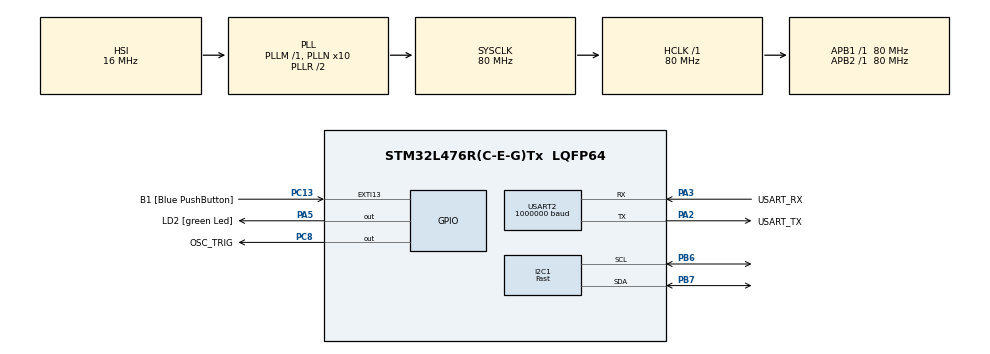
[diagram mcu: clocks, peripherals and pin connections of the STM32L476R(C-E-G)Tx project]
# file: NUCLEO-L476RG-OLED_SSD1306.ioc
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I2C1.I2C_Speed_Mode=I2C_Fast
I2C1.Timing=0x00702991
Mcu.Family=STM32L4
Mcu.Name=STM32L476R(C-E-G)Tx
Mcu.Package=LQFP64
NVIC.PriorityGroup=NVIC_PRIORITYGROUP_4
PA13\ (JTMS-SWDIO).GPIO_Label=TMS
PA13\ (JTMS-SWDIO).Mode=Serial_Wire
PA13\ (JTMS-SWDIO).Signal=SYS_JTMS-SWDIO
PA14\ (JTCK-SWCLK).GPIO_Label=TCK
PA14\ (JTCK-SWCLK).Mode=Serial_Wire
PA14\ (JTCK-SWCLK).Signal=SYS_JTCK-SWCLK
PA2.GPIO_Label=USART_TX
PA2.GPIO_Mode=GPIO_MODE_AF_PP
PA2.GPIO_PuPd=GPIO_NOPULL
PA2.GPIO_Speed=GPIO_SPEED_FREQ_VERY_HIGH
PA2.Mode=Asynchronous
PA2.Signal=USART2_TX
PA3.GPIO_Label=USART_RX
PA3.GPIO_Mode=GPIO_MODE_AF_PP
PA3.GPIO_PuPd=GPIO_NOPULL
PA3.GPIO_Speed=GPIO_SPEED_FREQ_VERY_HIGH
PA3.Mode=Asynchronous
PA3.Signal=USART2_RX
PA5.GPIO_Label=LD2 [green Led]
PA5.GPIO_ModeDefaultOutputPP=GPIO_MODE_OUTPUT_PP
PA5.GPIO_PuPd=GPIO_NOPULL
PA5.GPIO_Speed=GPIO_SPEED_FREQ_LOW
PA5.Signal=GPIO_Output
PB3\ (JTDO-TRACESWO).GPIO_Label=SWO
PB3\ (JTDO-TRACESWO).Signal=SYS_JTDO-SWO
PB6.Mode=I2C
PB6.Signal=I2C1_SCL
PB7.Mode=I2C
PB7.Signal=I2C1_SDA
PC13.GPIO_Label=B1 [Blue PushButton]
PC13.GPIO_ModeDefaultEXTI=GPIO_MODE_IT_FALLING
PC13.GPIO_PuPd=GPIO_NOPULL
PC13.Signal=GPXTI13
PC14-OSC32_IN\ (PC14).Mode=LSE-External-Oscillator
PC14-OSC32_IN\ (PC14).Signal=RCC_OSC32_IN
PC15-OSC32_OUT\ (PC15).Mode=LSE-External-Oscillator
PC15-OSC32_OUT\ (PC15).Signal=RCC_OSC32_OUT
PC8.GPIO_Label=OSC_TRIG
PC8.Signal=GPIO_Output
PH0-OSC_IN\ (PH0).Signal=RCC_OSC_IN
PH1-OSC_OUT\ (PH1).Signal=RCC_OSC_OUT
ProjectManager.HeapSize=0x200
ProjectManager.StackSize=0x400
ProjectManager.TargetToolchain=STM32CubeIDE
RCC.ADCFreq_Value=64000000
RCC.AHBFreq_Value=80000000
RCC.APB1Freq_Value=80000000
RCC.APB1TimFreq_Value=80000000
RCC.APB2Freq_Value=80000000
RCC.APB2TimFreq_Value=80000000
RCC.CortexFreq_Value=80000000
RCC.HCLKFreq_Value=80000000
RCC.HSE_VALUE=8000000
RCC.HSI_VALUE=16000000
RCC.MSI_VALUE=4000000
RCC.PLLN=10
RCC.PLLSourceVirtual=RCC_PLLSOURCE_HSI
RCC.PREFETCH_ENABLE=1
RCC.SYSCLKFreq_VALUE=80000000
RCC.SYSCLKSource=RCC_SYSCLKSOURCE_PLLCLK
RCC.USBFreq_Value=64000000
RCC.VCOOutputFreq_Value=160000000
USART2.BaudRate=1000000
USART2.VirtualMode-Asynchronous=VM_ASYNC
board=NUCLEO-L476RG

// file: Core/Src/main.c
/* USER CODE BEGIN Header */
/**
 ******************************************************************************
 * @file           : main.c
 * @brief          : Main program body
 ******************************************************************************
 * @attention
 *
 * Copyright (c) 2024 STMicroelectronics.
 * All rights reserved.
 *
 * This software is licensed under terms that can be found in the LICENSE file
 * in the root directory of this software component.
 * If no LICENSE file comes with this software, it is provided AS-IS.
 *
 ******************************************************************************
 */
/* USER CODE END Header */
#include "main.h"
#include "i2c.h"
#include "usart.h"
#include "gpio.h"

/* USER CODE BEGIN Includes */
#include "SSD1306.h"
/* USER CODE END Includes */

void SystemClock_Config(void);

int main(void)
{

  /* MCU Configuration--------------------------------------------------------*/

  /* Reset of all peripherals, Initializes the Flash interface and the Systick. */
  HAL_Init();

  /* Configure the system clock */
  SystemClock_Config();

  /* Initialize all configured peripherals */
  MX_GPIO_Init();
  MX_USART2_UART_Init();
  MX_I2C1_Init();
  /* USER CODE BEGIN 2 */
	tx_Buffer_Size = snprintf((char *)uart2_Tx_Buffer, UART_TX_BUFFER_SIZE, "Simple code for SSD1306 OLED Screen\r\n");
	HAL_UART_Transmit(&huart2, uart2_Tx_Buffer, tx_Buffer_Size, 10);
	if(HAL_OK == SCREEN_SSD1306_Init(&hscreen1, &hi2c1)){
		tx_Buffer_Size = snprintf((char *)uart2_Tx_Buffer, UART_TX_BUFFER_SIZE, "Screen Init Done\r\n");
		HAL_UART_Transmit(&huart2, uart2_Tx_Buffer, tx_Buffer_Size, 10);
	}
	else{
		tx_Buffer_Size = snprintf((char *)uart2_Tx_Buffer, UART_TX_BUFFER_SIZE, "Screen Init Error\r\n");
		HAL_UART_Transmit(&huart2, uart2_Tx_Buffer, tx_Buffer_Size, 10);
	}
	int dir = 1;
	while(1){
		SSD1306_COLOR color = Black;
		SCREEN_SSD1306_Fill(&hscreen1, color);
		color = White;
		SCREEN_SSD1306_Write_String(&hscreen1, "Hello world", Font_11x18, color);
		hscreen1.CurrentX = 0;
		hscreen1.CurrentY += dir;
		if(hscreen1.CurrentY == 45) dir = -1;
		if(hscreen1.CurrentY == 0) dir = 1;
		HAL_GPIO_WritePin(OSC_TRIG_GPIO_Port, OSC_TRIG_Pin, SET);
		SCREEN_SSD1306_Update_Screen(&hscreen1);
		HAL_GPIO_WritePin(OSC_TRIG_GPIO_Port, OSC_TRIG_Pin, RESET);
		HAL_Delay(20);
	}

  /* USER CODE END 2 */

  /* Infinite loop */
	while (1)
	{

	}
}

void SystemClock_Config(void)
{
  RCC_OscInitTypeDef RCC_OscInitStruct = {0};
  RCC_ClkInitTypeDef RCC_ClkInitStruct = {0};

  /** Configure the main internal regulator output voltage
  */
  if (HAL_PWREx_ControlVoltageScaling(PWR_REGULATOR_VOLTAGE_SCALE1) != HAL_OK)
  {
    Error_Handler();
  }

  /** Initializes the RCC Oscillators according to the specified parameters
  * in the RCC_OscInitTypeDef structure.
  */
  RCC_OscInitStruct.OscillatorType = RCC_OSCILLATORTYPE_HSI;
  RCC_OscInitStruct.HSIState = RCC_HSI_ON;
  RCC_OscInitStruct.HSICalibrationValue = RCC_HSICALIBRATION_DEFAULT;
  RCC_OscInitStruct.PLL.PLLState = RCC_PLL_ON;
  RCC_OscInitStruct.PLL.PLLSource = RCC_PLLSOURCE_HSI;
  RCC_OscInitStruct.PLL.PLLM = 1;
  RCC_OscInitStruct.PLL.PLLN = 10;
  RCC_OscInitStruct.PLL.PLLP = RCC_PLLP_DIV7;
  RCC_OscInitStruct.PLL.PLLQ = RCC_PLLQ_DIV2;
  RCC_OscInitStruct.PLL.PLLR = RCC_PLLR_DIV2;
  if (HAL_RCC_OscConfig(&RCC_OscInitStruct) != HAL_OK)
  {
    Error_Handler();
  }

  /** Initializes the CPU, AHB and APB buses clocks
  */
  RCC_ClkInitStruct.ClockType = RCC_CLOCKTYPE_HCLK|RCC_CLOCKTYPE_SYSCLK
                              |RCC_CLOCKTYPE_PCLK1|RCC_CLOCKTYPE_PCLK2;
  RCC_ClkInitStruct.SYSCLKSource = RCC_SYSCLKSOURCE_PLLCLK;
  RCC_ClkInitStruct.AHBCLKDivider = RCC_SYSCLK_DIV1;
  RCC_ClkInitStruct.APB1CLKDivider = RCC_HCLK_DIV1;
  RCC_ClkInitStruct.APB2CLKDivider = RCC_HCLK_DIV1;

  if (HAL_RCC_ClockConfig(&RCC_ClkInitStruct, FLASH_LATENCY_4) != HAL_OK)
  {
    Error_Handler();
  }
}

void Error_Handler(void)
{
	__disable_irq();
	while (1)
	{
	}
}
